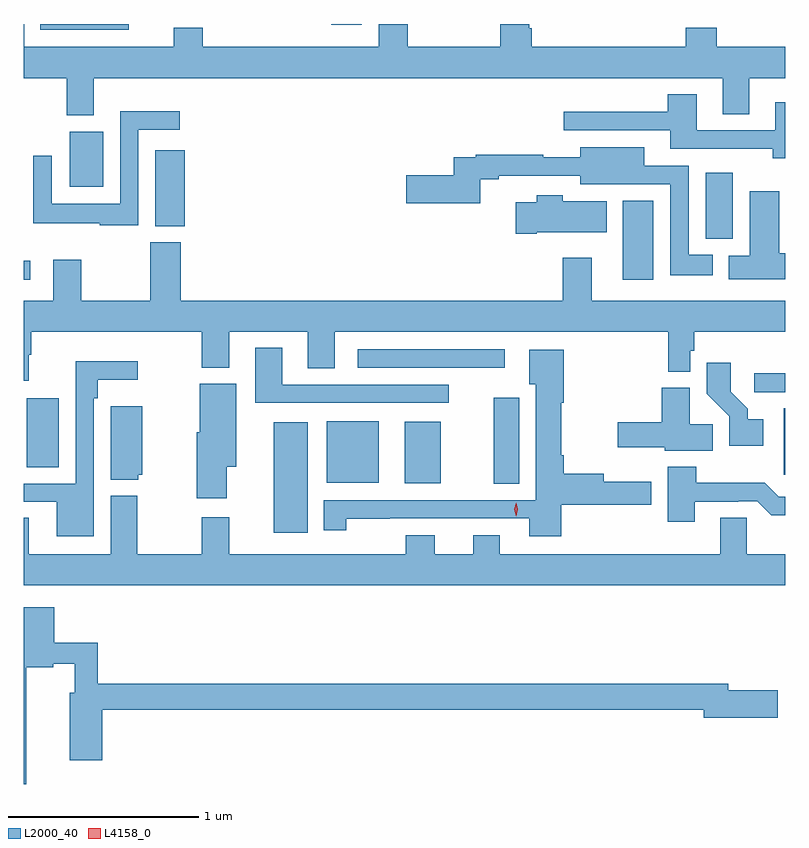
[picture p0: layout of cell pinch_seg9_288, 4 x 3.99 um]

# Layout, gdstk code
import gdstk
lib = gdstk.Library(unit=1e-6, precision=1e-09)
def R(c, l, rs):  # rectangles x0, y0, x1, y1
    for r in rs: c.add(gdstk.rectangle(r[:2], r[2:], *l))
def P(c, l, *ps):  # polygons
    for p in ps: c.add(gdstk.Polygon(p, *l))
L2000_40 = (2000, 40)
L4158_0 = (4158, 0)

pinch_seg9_288 = lib.new_cell('pinch_seg9_288')
R(pinch_seg9_288, L2000_40, [(442.805,1167.392,442.984,1167.973), (443.96,1167.649,444.094,1168.102), (443.492,1167.653,443.683,1167.976), (443.084,1167.656,443.356,1167.979), (445.484,1167.696,445.492,1168.045), (441.509,1167.736,441.676,1168.099), (445.329,1168.131,445.492,1168.23), (443.247,1168.26,444.019,1168.356), (441.492,1168.722,441.526,1168.82), (444.638,1168.722,444.799,1169.137), (445.073,1168.937,445.216,1169.284), (442.184,1169.002,442.337,1169.401), (441.734,1169.21,441.91,1169.497), (441.58,1170.033,442.044,1170.064), (443.107,1170.06,443.268,1170.064)])
P(pinch_seg9_288, L2000_40, [(441.859,1169.78),(445.163,1169.78),(445.163,1169.59),(445.303,1169.59),(445.303,1169.78),(445.492,1169.78),(445.492,1169.944),(445.133,1169.944),(445.133,1170.043),(444.968,1170.043),(444.968,1169.944),(444.161,1169.944),(444.161,1170.042),(444.148,1170.042),(444.148,1170.064),(443.996,1170.064),(443.996,1169.944),(443.51,1169.944),(443.51,1170.064),(443.357,1170.064),(443.357,1169.944),(442.433,1169.944),(442.433,1170.043),(442.28,1170.043),(442.28,1169.944),(441.495,1169.944),(441.495,1170.064),(441.492,1170.064),(441.492,1169.78),(441.719,1169.78),(441.719,1169.586),(441.859,1169.586)],
  [(445.492,1169.653),(445.439,1169.653),(445.439,1169.505),(445.027,1169.505),(445.027,1169.695),(444.875,1169.695),(444.875,1169.602),(444.327,1169.602),(444.327,1169.505),(444.887,1169.505),(444.887,1169.409),(445.427,1169.409),(445.427,1169.358),(445.492,1169.358)],
  [(442.095,1169.508),(442.312,1169.508),(442.312,1169.605),(441.999,1169.605),(441.999,1169.119),(441.639,1169.119),(441.639,1169.371),(441.543,1169.371),(441.543,1169.018),(441.892,1169.018),(441.892,1169.008),(442.095,1169.008)],
  [(445.111,1168.852),(444.984,1168.852),(444.984,1169.319),(444.751,1169.319),(444.751,1169.416),(444.416,1169.416),(444.416,1169.365),(444.22,1169.365),(444.22,1169.377),(443.866,1169.377),(443.866,1169.364),(443.75,1169.364),(443.75,1169.27),(443.502,1169.27),(443.502,1169.123),(443.89,1169.123),(443.89,1169.248),(443.986,1169.248),(443.986,1169.268),(444.416,1169.268),(444.416,1169.222),(444.642,1169.222),(444.642,1169.223),(444.888,1169.223),(444.888,1168.745),(445.111,1168.745)],
  [(445.492,1168.859),(445.459,1168.859),(445.459,1169.185),(445.304,1169.185),(445.304,1168.846),(445.196,1168.846),(445.196,1168.724),(445.492,1168.724)],
  [(444.187,1168.97),(444.553,1168.97),(444.553,1169.134),(444.324,1169.134),(444.324,1169.164),(444.187,1169.164),(444.187,1169.128),(444.075,1169.128),(444.075,1168.963),(444.187,1168.963)],
  [(441.52,1168.328),(441.533,1168.328),(441.533,1168.448),(442.426,1168.448),(442.426,1168.259),(442.573,1168.259),(442.573,1168.448),(442.985,1168.448),(442.985,1168.255),(443.125,1168.255),(443.125,1168.448),(444.877,1168.448),(444.877,1168.238),(444.993,1168.238),(444.993,1168.347),(445.013,1168.347),(445.013,1168.448),(445.492,1168.448),(445.492,1168.612),(444.475,1168.612),(444.475,1168.837),(444.323,1168.837),(444.323,1168.612),(442.316,1168.612),(442.316,1168.917),(442.156,1168.917),(442.156,1168.612),(441.795,1168.612),(441.795,1168.825),(441.647,1168.825),(441.647,1168.612),(441.492,1168.612),(441.492,1168.191),(441.52,1168.191)],
  [(443.725,1168.17),(442.849,1168.17),(442.849,1168.363),(442.709,1168.363),(442.709,1168.074),(443.725,1168.074)],
  [(444.316,1167.539),(444.787,1167.539),(444.787,1167.661),(444.538,1167.661),(444.538,1167.703),(444.329,1167.703),(444.329,1167.799),(444.316,1167.799),(444.316,1168.076),(444.329,1168.076),(444.329,1168.354),(444.146,1168.354),(444.146,1168.172),(444.182,1168.172),(444.182,1167.564),(443.069,1167.564),(443.069,1167.405),(443.187,1167.405),(443.187,1167.467),(443.414,1167.467),(443.414,1167.468),(444.146,1167.468),(444.146,1167.374),(444.316,1167.374)],
  [(441.861,1168.1),(441.881,1168.1),(441.881,1168.196),(442.09,1168.196),(442.09,1168.294),(441.765,1168.294),(441.765,1167.651),(441.492,1167.651),(441.492,1167.555),(441.665,1167.555),(441.665,1167.374),(441.861,1167.374)],
  [(445.375,1167.988),(445.294,1167.988),(445.294,1168.043),(445.204,1168.133),(445.204,1168.285),(445.078,1168.285),(445.078,1168.122),(445.197,1168.003),(445.197,1167.848),(445.375,1167.848)],
  [(442.558,1167.74),(442.609,1167.74),(442.609,1168.174),(442.418,1168.174),(442.418,1167.921),(442.4,1167.921),(442.4,1167.573),(442.558,1167.573)],
  [(445.112,1167.962),(444.991,1167.962),(444.991,1168.153),(444.842,1168.153),(444.842,1167.972),(444.612,1167.972),(444.612,1167.842),(444.858,1167.842),(444.858,1167.824),(445.112,1167.824)],
  [(442.095,1167.696),(442.114,1167.696),(442.114,1168.057),(441.95,1168.057),(441.95,1167.671),(442.095,1167.671)],
  [(445.015,1167.555),(445.244,1167.555),(445.244,1167.558),(445.344,1167.558),(445.417,1167.485),(445.492,1167.485),(445.492,1167.582),(445.458,1167.582),(445.385,1167.655),(445.023,1167.655),(445.023,1167.739),(444.875,1167.739),(444.875,1167.45),(445.015,1167.45)],
  [(445.492,1167.28),(445.29,1167.28),(445.29,1167.47),(445.151,1167.47),(445.151,1167.28),(443.992,1167.28),(443.992,1167.379),(443.852,1167.379),(443.852,1167.28),(443.65,1167.28),(443.65,1167.379),(443.498,1167.379),(443.498,1167.28),(442.573,1167.28),(442.573,1167.475),(442.426,1167.475),(442.426,1167.28),(442.089,1167.28),(442.089,1167.586),(441.95,1167.586),(441.95,1167.28),(441.52,1167.28),(441.52,1167.47),(441.492,1167.47),(441.492,1167.116),(445.492,1167.116)],
  [(441.505,1166.686),(441.648,1166.686),(441.648,1166.705),(441.76,1166.705),(441.76,1166.551),(441.734,1166.551),(441.734,1166.199),(441.905,1166.199),(441.905,1166.464),(445.064,1166.464),(445.064,1166.422),(445.453,1166.422),(445.453,1166.564),(445.192,1166.564),(445.192,1166.6),(441.881,1166.6),(441.881,1166.815),(441.652,1166.815),(441.652,1167.001),(441.492,1167.001),(441.492,1166.073),(441.505,1166.073)])
P(pinch_seg9_288, L4158_0, [(444.078,1167.479),(444.078,1167.479),(444.068,1167.515),(444.078,1167.551),(444.078,1167.551),(444.078,1167.551),(444.088,1167.515),(444.078,1167.479)])

lib.write_gds('pinch_seg9_288.gds')
